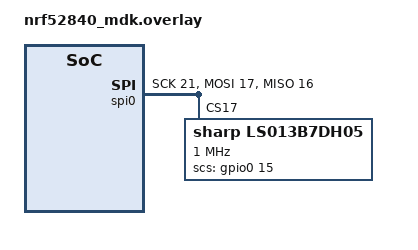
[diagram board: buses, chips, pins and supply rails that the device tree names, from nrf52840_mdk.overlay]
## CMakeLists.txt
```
#
# Copyright (c) 2018 Miras Absar
#
# SPDX-License-Identifier: Apache-2.0
#

cmake_minimum_required(VERSION 3.8.2)
include($ENV{ZEPHYR_BASE}/cmake/app/boilerplate.cmake NO_POLICY_SCOPE)
project(NONE)

FILE(GLOB app_sources src/*.c)
target_sources(app PRIVATE ${app_sources})
```

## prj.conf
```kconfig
#
# Copyright (c) 2018 Miras Absar
#
# SPDX-License-Identifier: Apache-2.0
#

CONFIG_MINIMAL_LIBC_MALLOC_ARENA_SIZE=16384

CONFIG_SPI=y
CONFIG_SPI_0=y
CONFIG_SPI_NRFX=y

CONFIG_GPIO=y

CONFIG_DISPLAY=y
CONFIG_LS013B7DH05=y

CONFIG_LOG=y
CONFIG_LOG_DEFAULT_LEVEL=4
CONFIG_DISPLAY_LOG_LEVEL_DBG=y
```

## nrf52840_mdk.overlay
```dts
/*
 * Copyright (c) 2018 Miras Absar
 *
 * SPDX-License-Identifier: Apache-2.0
 */

&spi0 {
	status = "ok";
	sck-pin = <21>;
	mosi-pin = <17>;
	miso-pin = <16>;

	ls013b7dh05@0 {
		compatible = "sharp,ls013b7dh05";
		reg = <17>;
		spi-max-frequency = <1000000>;
		label = "LS013B7DH05";
		scs-gpios = <&gpio0 15 0>;
	};
};
```

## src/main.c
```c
/*
 * Copyright (c) 2018 Miras Absar
 *
 * SPDX-License-Identifier: Apache-2.0
 */

#include <stdlib.h>
#include <string.h>
#include <display.h>
#include <display/ls013b7dh05.h>

#define LOG_LEVEL CONFIG_LOG_DEFAULT_LEVEL
#include <logging/log.h>
LOG_MODULE_REGISTER(main);

void main(void)
{
	struct device *dev;
	u16_t buf_width, buf_height, buf_x, buf_y, buf_size;
	u8_t *buf;
	struct display_buffer_descriptor desc;

	dev = device_get_binding(LS013B7DH05_DEV_NAME);
	buf_width = LS013B7DH05_WIDTH;
	buf_height = 4;
	buf_x = 0;
	buf_y = (LS013B7DH05_HEIGHT - buf_height) / 2;
	buf_size = LS013B7DH05_FRAME_BUF_WIDTH_BYTES * buf_height;
	LOG_DBG("Allocating %d bytes.", buf_size);
	buf = calloc(buf_size, sizeof(u8_t));
	if (buf == NULL) {
		LOG_ERR("Couldn't allocate %d bytes.", buf_size);
		return;
	}

	memset(buf, 255, buf_size);
	buf[LS013B7DH05_FRAME_BUF_WIDTH_BYTES / 2 +
		(LS013B7DH05_FRAME_BUF_WIDTH_BYTES * 0)] = 0b11011011;
	buf[LS013B7DH05_FRAME_BUF_WIDTH_BYTES / 2 +
		(LS013B7DH05_FRAME_BUF_WIDTH_BYTES * 2)] = 0b01111110;
	buf[LS013B7DH05_FRAME_BUF_WIDTH_BYTES / 2 +
		(LS013B7DH05_FRAME_BUF_WIDTH_BYTES * 3)] = 0b10000001;

	desc.buf_size = buf_size;
	desc.width = buf_width;
	desc.height = buf_height;
	desc.pitch = 0;

	display_write(dev, buf_x, buf_y, &desc, buf);
	LOG_DBG("Freeing %d bytes.", buf_size);
	free(buf);
}
```
